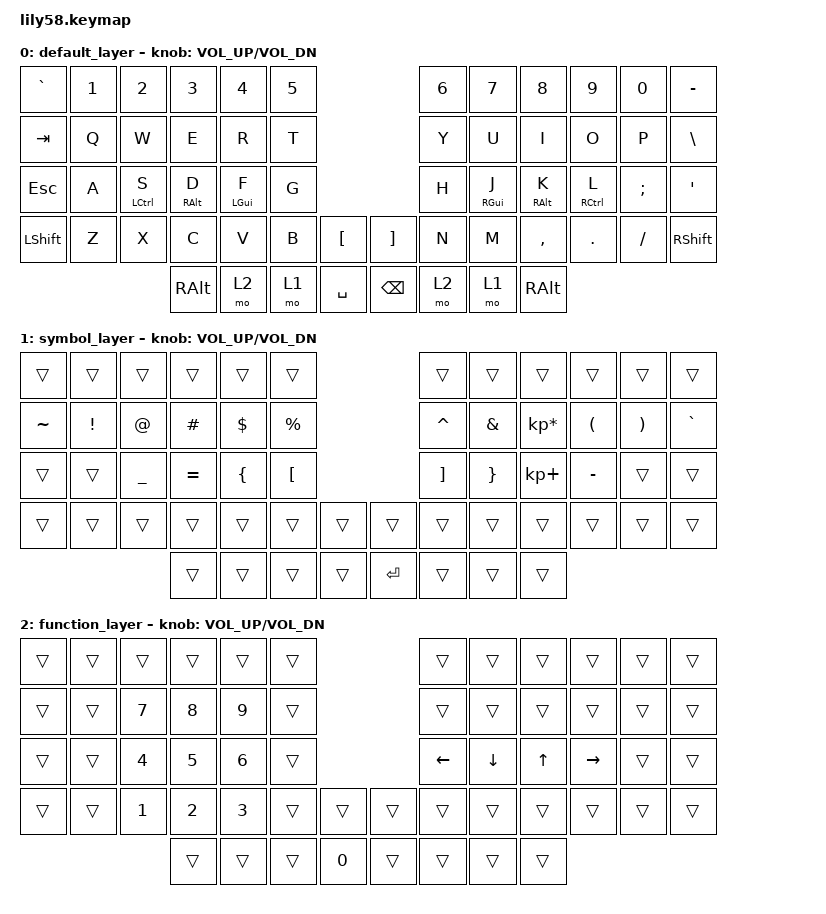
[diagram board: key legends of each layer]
/*
 * Copyright (c) 2020 The ZMK Contributors
 *
 * SPDX-License-Identifier: MIT
 */

#include <behaviors.dtsi>
#include <dt-bindings/zmk/keys.h>
#include <dt-bindings/zmk/bt.h>
#include <dt-bindings/zmk/ext_power.h>


    
/ {

behaviors {
        hm: homerow_mods {
            compatible = "zmk,behavior-hold-tap";
            label = "HOMEROW_MODS";
            #binding-cells = <2>;
            tapping-term-ms = <250>;
            quick_tap_ms = <0>;
            flavor = "tap-preferred";
            bindings = <&kp>, <&kp>;
        };
    };



	keymap {
		compatible = "zmk,keymap";

		default_layer {
// ------------------------------------------------------------------------------------------------------------
// |   `   |  1  |  2  |  3   |  4   |  5   |                   |  6   |  7    |  8    |  9   |   0   |   -   |
// |  TAB  |  Q  |  W  |  E   |  R   |  T   |                   |  Y   |  U    |  I    |  O   |   P   |   \   |
// |  ESC  |  A  |  S  |  D   |  F   |  G   |                   |  H   |  J    |  K    |  L   |   ;   |   '   |
// | SHIFT |  Z  |  X  |  C   |  V   |  B   |   "["  |  |  "]"  |  N   |  M    |  ,    |  .   |   /   | SHIFT |
//                     | ALT  | GUI  | LOWER|  SPACE |  | BSPC  | RAISE|  GUI  |  ALT  |
			bindings = <
&kp GRAVE     &kp N1  &kp N2      &kp N3      &kp N4      &kp N5                 &kp N6 &kp N7       &kp N8      &kp N9      &kp N0   &kp MINUS
&kp TAB       &kp Q   &kp W       &kp E       &kp R       &kp T                  &kp Y  &kp U        &kp I       &kp O       &kp P    &kp BSLH
&kp ESC       &kp A   &hm LCTRL S &hm RALT D  &hm LGUI F  &kp G                  &kp H  &hm RGUI J   &hm RALT  K &hm RCTRL L &kp SEMI &kp SQT
&kp LSHFT     &kp Z   &kp X       &kp C       &kp V   &kp B  &kp LBKT   &kp RBKT &kp N  &kp M   &kp COMMA   &kp DOT    &kp FSLH       &kp RSHFT
                                    &kp RALT  &mo 2   &mo 1  &kp SPACE  &kp BSPC &mo 2  &mo 1   &kp RALT
			>;

			sensor-bindings = <&inc_dec_kp C_VOL_UP C_VOL_DN>;
		};

		symbol_layer {
// ------------------------------------------------------------------------------------------------------------
// |       |     |     |      |      |      |                   |      |       |       |      |       |       |
// |   ~   |  !  |  @  |  #   |  $   |  %   |                   |  ^   |  &    |  *    |  (   |   )   |   `   |
// |       |     |  _  |  =   |  {   |  [   |                   |  ]   |  }    |  +    |  -   |       |       |
// |       |     |     |      |      |      |        |  |       |      |       |       |      |       |       |
//                     |      |      |      |        |  |  RET  |      |       |       |
			bindings = <
&trans     &trans    &trans     &trans    &trans       &trans                       &trans    &trans    &trans          &trans    &trans    &trans
&kp TILDE  &kp EXCL  &kp AT     &kp HASH  &kp DOLLAR   &kp PRCNT                    &kp CARET &kp AMPS  &kp KP_MULTIPLY &kp LPAR  &kp RPAR  &kp GRAVE  
&trans     &trans    &kp UNDER  &kp EQUAL &kp LBRC     &kp LBKT                     &kp RBKT  &kp RBRC  &kp KP_PLUS     &kp MINUS &trans    &trans
&trans     &trans    &trans     &trans    &trans       &trans    &trans   &trans    &trans    &trans    &trans          &trans    &trans    &trans
                                &trans    &trans       &trans    &trans   &kp RET   &trans    &trans    &trans
			>;

			sensor-bindings = <&inc_dec_kp C_VOL_UP C_VOL_DN>;
		};

		function_layer {
// ------------------------------------------------------------------------------------------------------------
// |       |     |     |      |      |      |                   |      |       |       |      |       |       |
// |       |     |  7  |  8   |  9   |      |                   |      |       |       |      |       |       |
// |       |     |  4  |  5   |  6   |      |                   |  <-  |   ^   |  v    |  ->  |       |       |
// |       |     |  1  |  2   |  3   |      |        |  |       |      |       |       |      |       |       |
//                     |      |      |      |   0    |  |       |      |       |       |
			bindings = <
&trans  &trans &trans &trans  &trans  &trans                       &trans      &trans    &trans   &trans    &trans    &trans
&trans  &trans &kp N7 &kp N8  &kp N9  &trans                       &trans      &trans    &trans   &trans    &trans    &trans
&trans  &trans &kp N4 &kp N5  &kp N6  &trans                       &kp LEFT    &kp DOWN  &kp UP   &kp RIGHT &trans    &trans
&trans  &trans &kp N1 &kp N2  &kp N3  &trans    &trans   &trans    &trans      &trans    &trans   &trans    &trans    &trans
                      &trans  &trans  &trans    &kp N0   &trans    &trans      &trans    &trans
			>;

			sensor-bindings = <&inc_dec_kp C_VOL_UP C_VOL_DN>;
		};
	};
};
